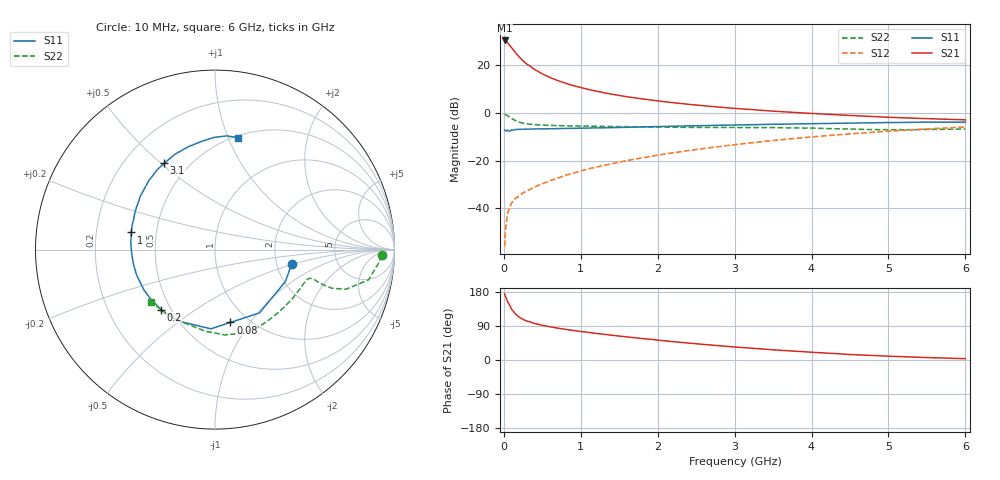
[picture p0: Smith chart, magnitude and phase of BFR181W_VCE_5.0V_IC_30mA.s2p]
! Infineon Technologies  Discrete & RF Semiconductors
! BFR181W
! VCE =  5.0 V,  IC =  30 mA
! Common Emitter S-Parameters:  Jan 2017
# GHz  S  MA  R  50
!  f  S11  S21  S12  S22
! GHz  MAG  ANG  MAG  ANG  MAG  ANG  MAG  ANG
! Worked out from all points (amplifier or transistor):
!   77 points, 10 MHz to 6 GHz, reference 50 ohm
!   highest |S21| = 30.3 dB at 10 MHz (marker M1)
!   |S21| within 3 dB of that: start of sweep to 100 MHz
!   unconditionally stable (mu >= 1): start of sweep to 11.15 MHz; 342.4 MHz to 2.544 GHz
!   at 130 MHz: K = 0.59, MSG = 31.3 dB, |S12| = -36.6 dB
!   at 2.2 GHz: K = 1.06, MAG = 9.0 dB, |S12| = -16.8 dB
!   at 6 GHz: K = 0.91, MSG = 1.5 dB, |S12| = -6.0 dB
!   S11 on the Smith chart (normalised r, x): 10 MHz: 2.42, -0.49; 80 MHz: 0.83, -0.81; 200 MHz: 0.44, -0.37; 1 GHz: 0.36, +0.09; 3.1 GHz: 0.37, +0.51; 6 GHz: 0.52, +1.09
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0.01  0.4352 -10.8  32.85 174.7  0.0016 83.3  0.9283 -1.9
0.02  0.4305 -24.5  32.4 168.5  0.003 85.5  0.9173 -4.4
0.05  0.4309 -54.8  29.4 153.2  0.0079 70.5  0.871 -11.2
0.08  0.4147 -78.0  25.35 142.6  0.0108 65.8  0.805 -14.4
0.1  0.442 -92.9  23.26 133.7  0.0127 63.9  0.7626 -16.8
0.15  0.4475 -117.1  18.3 121.6  0.0162 60.4  0.6847 -18.3
0.2  0.4497 -132.0  14.74 113.0  0.0178 61.1  0.6362 -18.0
0.25  0.4519 -142.9  12.27 107.1  0.021 60.3  0.6065 -17.6
0.3  0.4553 -150.6  10.47 102.7  0.0229 63.9  0.5858 -17.0
0.4  0.4588 -161.7  8.087 96.2  0.0278 66.5  0.5646 -16.6
0.5  0.4615 -169.2  6.54 91.5  0.0324 68.7  0.552 -16.9
0.6  0.4629 -175.1  5.505 87.6  0.0379 71.4  0.5449 -17.2
0.7  0.4662 -179.9  4.746 84.1  0.0424 74.5  0.539 -18.1
0.8  0.4706 175.7  4.183 80.9  0.0492 75.7  0.5349 -19.2
1  0.4764 168.4  3.385 75.4  0.0604 77.5  0.5272 -21.7
1.1  0.4793 165.1  3.089 72.8  0.0668 78.4  0.5254 -23.1
1.5  0.4931 154.3  2.308 63.2  0.0923 79.7  0.5135 -29.4
2.1  0.5175 140.1  1.701 50.5  0.1372 78.9  0.4995 -41.3
3.1  0.5578 120.5  1.206 32.9  0.2236 72.9  0.4902 -63.3
4.1  0.5939 103.2  0.951 19.3  0.3217 63.2  0.4726 -85.9
5.1  0.6267 89.2  0.795 9.3  0.4203 51.5  0.4413 -114.7
6  0.6372 78.2  0.712 3.5  0.5034 40.3  0.4595 -140.4
